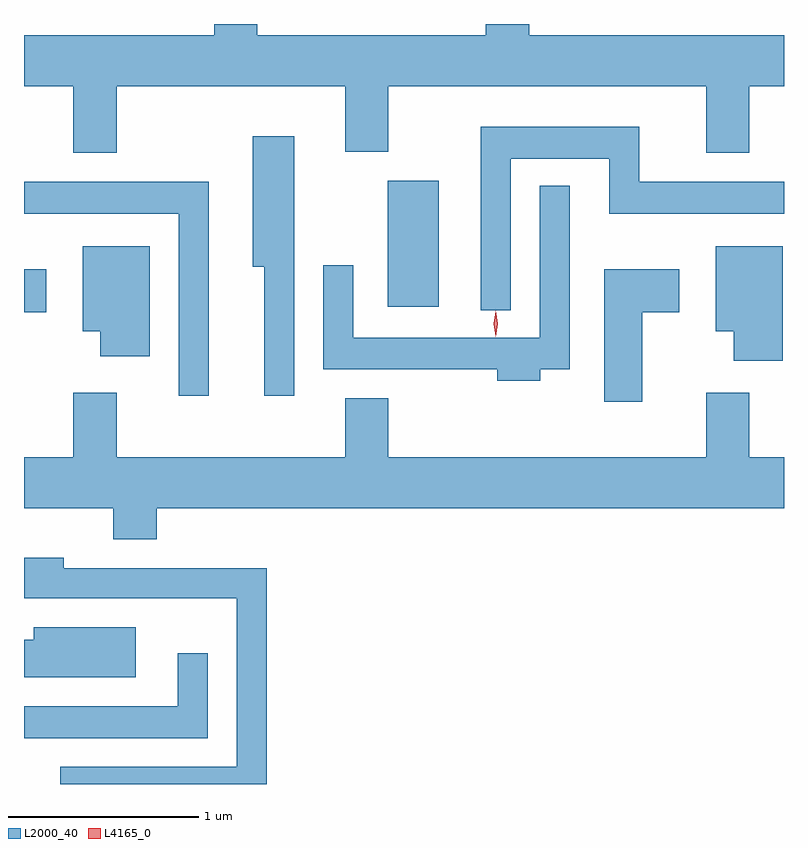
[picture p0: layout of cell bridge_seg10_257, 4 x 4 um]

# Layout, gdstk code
import gdstk
lib = gdstk.Library(unit=1e-6, precision=1e-09)
def R(c, l, rs):  # rectangles x0, y0, x1, y1
    for r in rs: c.add(gdstk.rectangle(r[:2], r[2:], *l))
def P(c, l, *ps):  # polygons
    for p in ps: c.add(gdstk.Polygon(p, *l))
L2000_40 = (2000, 40)
L4165_0 = (4165, 0)

bridge_seg10_257 = lib.new_cell('bridge_seg10_257')
R(bridge_seg10_257, L2000_40, [(1806.941,2099.406,1807.059,2099.634), (1808.856,2099.436,1809.124,2100.099)])
P(bridge_seg10_257, L2000_40, [(1807.429,2100.596),(1808.631,2100.596),(1808.631,2100.251),(1808.859,2100.251),(1808.859,2100.596),(1810.531,2100.596),(1810.531,2100.246),(1810.759,2100.246),(1810.759,2100.596),(1810.941,2100.596),(1810.941,2100.864),(1809.599,2100.864),(1809.599,2100.924),(1809.371,2100.924),(1809.371,2100.864),(1808.169,2100.864),(1808.169,2100.924),(1807.941,2100.924),(1807.941,2100.864),(1806.941,2100.864),(1806.941,2100.596),(1807.201,2100.596),(1807.201,2100.246),(1807.429,2100.246)],
  [(1809.504,2100.216),(1810.021,2100.216),(1810.021,2099.926),(1810.941,2099.926),(1810.941,2100.094),(1810.179,2100.094),(1810.179,2100.384),(1809.346,2100.384),(1809.346,2099.418),(1809.504,2099.418)],
  [(1808.364,2100.334),(1808.146,2100.334),(1808.146,2099.646),(1808.206,2099.646),(1808.206,2098.968),(1808.364,2098.968)],
  [(1807.914,2100.094),(1806.941,2100.094),(1806.941,2099.926),(1807.756,2099.926),(1807.756,2098.968),(1807.914,2098.968)],
  [(1809.659,2099.106),(1809.814,2099.106),(1809.814,2100.073),(1809.656,2100.073),(1809.656,2099.274),(1808.674,2099.274),(1808.674,2099.653),(1808.516,2099.653),(1808.516,2099.106),(1809.431,2099.106),(1809.431,2099.046),(1809.659,2099.046)],
  [(1807.604,2099.754),(1807.251,2099.754),(1807.251,2099.306),(1807.341,2099.306),(1807.341,2099.176),(1807.604,2099.176)],
  [(1810.934,2099.754),(1810.581,2099.754),(1810.581,2099.306),(1810.676,2099.306),(1810.676,2099.151),(1810.934,2099.151)],
  [(1810.194,2099.406),(1810.389,2099.406),(1810.389,2099.634),(1809.996,2099.634),(1809.996,2098.936),(1810.194,2098.936)],
  [(1807.639,2098.376),(1810.941,2098.376),(1810.941,2098.644),(1810.759,2098.644),(1810.759,2098.984),(1810.531,2098.984),(1810.531,2098.644),(1808.859,2098.644),(1808.859,2098.954),(1808.631,2098.954),(1808.631,2098.644),(1807.429,2098.644),(1807.429,2098.984),(1807.201,2098.984),(1807.201,2098.644),(1806.941,2098.644),(1806.941,2098.376),(1807.411,2098.376),(1807.411,2098.211),(1807.639,2098.211)],
  [(1808.219,2098.059),(1807.149,2098.059),(1807.149,2098.114),(1806.941,2098.114),(1806.941,2097.901),(1808.061,2097.901),(1808.061,2097.014),(1807.133,2097.014),(1807.133,2096.924),(1808.219,2096.924)],
  [(1807.529,2097.749),(1806.991,2097.749),(1806.991,2097.684),(1806.941,2097.684),(1806.941,2097.486),(1807.529,2097.486)],
  [(1807.909,2097.613),(1807.751,2097.613),(1807.751,2097.334),(1806.941,2097.334),(1806.941,2097.166),(1807.909,2097.166)])
P(bridge_seg10_257, L4165_0, [(1809.424,2099.279),(1809.424,2099.28),(1809.414,2099.346),(1809.424,2099.412),(1809.424,2099.413),(1809.425,2099.412),(1809.434,2099.346),(1809.425,2099.28)],
  [(1809.424,2099.277),(1809.415,2099.346),(1809.424,2099.416),(1809.425,2099.416),(1809.425,2099.416),(1809.435,2099.346),(1809.425,2099.277),(1809.425,2099.277)])

lib.write_gds('bridge_seg10_257.gds')
